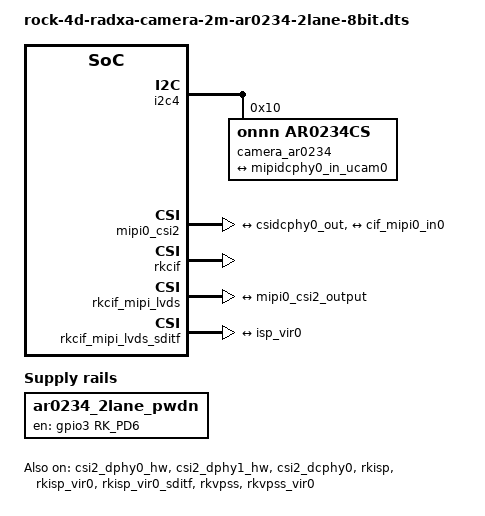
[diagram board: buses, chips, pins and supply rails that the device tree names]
/dts-v1/;
/plugin/;

#include <dt-bindings/gpio/gpio.h>
#include <dt-bindings/pinctrl/rockchip.h>

/ {
	metadata {
		title = "Enable Radxa Camera 2M AR0234 with RAW8 format on 2-lane CSI (15-pin)";
		compatible = "radxa,rock-4d";
		category = "camera";
		exclusive = "GPIO3_D6", "csi2_dcphy0", "i2c4";
		description = "Enable Radxa Camera 2M AR0234 with RAW8 format on 2-lane CSI (15-pin)";
	};
};

&{/} {
	ar0234_2lane_pwdn: ar0234-2lane-pwdn {
		compatible = "regulator-fixed";
		regulator-name = "ar0234_2lane_pwdn";
		regulator-always-on;
		regulator-boot-on;
		enable-active-high;
		gpio = <&gpio3 RK_PD6 GPIO_ACTIVE_HIGH>;
		pinctrl-names = "default";
		pinctrl-0 = <&ar0234_2lane_pwdn_pin>;
	};
};

&i2c4 {
	status = "okay";
	pinctrl-names = "default";
	pinctrl-0 = <&i2c4m3_xfer>;
	#address-cells = <1>;
	#size-cells = <0>;

	camera_ar0234: camera-ar0234@10 {
		status = "okay";
		compatible = "onnn,ar0234cs";
		reg = <0x10>;
		rockchip,camera-module-index = <0>;
		rockchip,camera-module-facing = "back";
		rockchip,camera-module-name = "default";
		rockchip,camera-module-lens-name = "default";

		port {
			ar0234_out0: endpoint {
				remote-endpoint = <&mipidcphy0_in_ucam0>;
				data-lanes = <1 2>;
				link-frequencies = /bits/ 64 <360000000>;
			};
		};
	};
};

&csi2_dphy0_hw {
	status = "okay";
};

&csi2_dphy1_hw {
	status = "okay";
};

&csi2_dcphy0 {
	status = "okay";

	ports {
		#address-cells = <1>;
		#size-cells = <0>;

		port@0 {
			reg = <0>;
			#address-cells = <1>;
			#size-cells = <0>;

			mipidcphy0_in_ucam0: endpoint@2 {
				reg = <2>;
				remote-endpoint = <&ar0234_out0>;
				data-lanes = <1 2>;
			};
		};

		port@1 {
			reg = <1>;
			#address-cells = <1>;
			#size-cells = <0>;

			csidcphy0_out: endpoint@0 {
				reg = <0>;
				remote-endpoint = <&mipi0_csi2_input>;
			};
		};
	};
};

&mipi0_csi2 {
	status = "okay";

	ports {
		#address-cells = <1>;
		#size-cells = <0>;

		port@0 {
			reg = <0>;
			#address-cells = <1>;
			#size-cells = <0>;

			mipi0_csi2_input: endpoint@1 {
				reg = <1>;
				remote-endpoint = <&csidcphy0_out>;
			};
		};

		port@1 {
			reg = <1>;
			#address-cells = <1>;
			#size-cells = <0>;

			mipi0_csi2_output: endpoint@0 {
				reg = <0>;
				remote-endpoint = <&cif_mipi0_in0>;
			};
		};
	};
};

&rkcif {
	status = "okay";
};

&rkcif_mmu {
	status = "okay";
};

&rkcif_mipi_lvds {
	status = "okay";

	port {
		cif_mipi0_in0: endpoint {
			remote-endpoint = <&mipi0_csi2_output>;
		};
	};
};

&rkcif_mipi_lvds_sditf {
	status = "okay";

	port {
		mipi_lvds_sditf: endpoint {
			remote-endpoint = <&isp_vir0>;
		};
	};
};

&rkisp {
	status = "okay";
};

&rkisp_mmu {
	status = "okay";
};

&rkisp_vir0 {
	status = "okay";

	port {
		#address-cells = <1>;
		#size-cells = <0>;

		isp_vir0: endpoint@0 {
			reg = <0>;
			remote-endpoint = <&mipi_lvds_sditf>;
		};
	};
};

&rkisp_vir0_sditf {
	status = "okay";
};

&rkvpss {
	status = "okay";
};

&rkvpss_mmu {
	status = "okay";
};

&rkvpss_vir0 {
	status = "okay";
};

&i2c4m3_xfer {
	rockchip,pins =
		<3 RK_PC0 11 &pcfg_pull_up_drv_level_3>,
		<3 RK_PB7 11 &pcfg_pull_up_drv_level_3>;
};

&pinctrl {
	camera {
		ar0234_2lane_pwdn_pin: ar0234-2lane-pwdn-pin {
			rockchip,pins = <3 RK_PD6 RK_FUNC_GPIO &pcfg_pull_up>;
		};
	};
};
